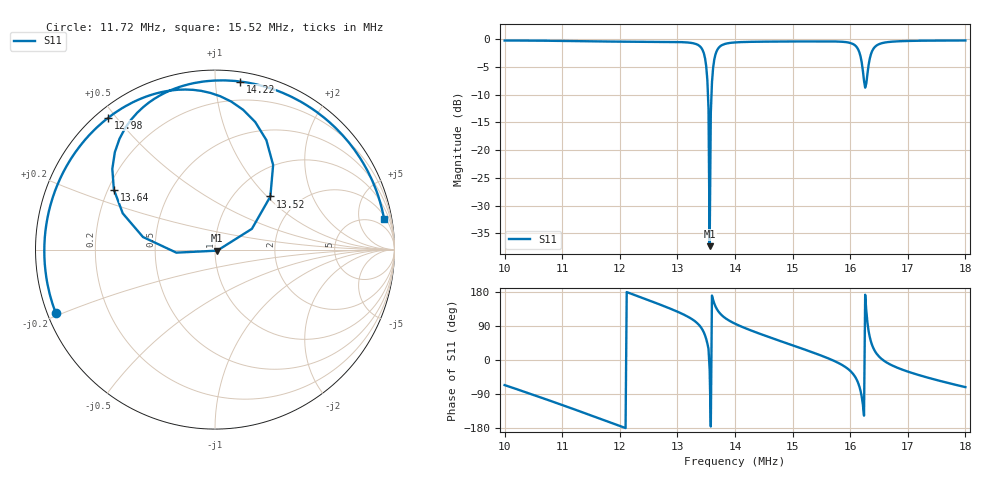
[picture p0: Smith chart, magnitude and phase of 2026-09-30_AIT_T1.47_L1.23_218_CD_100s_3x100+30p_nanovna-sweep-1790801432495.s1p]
! NanoVNA Web complex sweep
! Processing: original sample grid, no browser smoothing
# Hz S RI R 50
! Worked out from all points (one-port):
!   401 points, 10 MHz to 18 MHz, reference 50 ohm
!   lowest |S11| = -37.3 dB at 13.56 MHz (marker M1), VSWR 1.03, Z = 51.2 - j0.606 ohm
!   |S11| at or under -10 dB: 13.53016 MHz to 13.59202 MHz (61.86 kHz wide, 0.456 % of centre)
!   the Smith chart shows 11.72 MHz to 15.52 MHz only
!   S11 on the Smith chart (normalised r, x): 11.72 MHz: 0.02, -0.19; 12.98 MHz: 0.03, +0.48; 13.52 MHz: 1.44, +1.05; 13.64 MHz: 0.22, +0.26; 14.22 MHz: 0.06, +1.16; 15.52 MHz: 3, +10
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1e7  0.3935 -0.8919
1.1e7  -0.4656 -0.8467
1.172e7  -0.8877 -0.3525
1.2e7  -0.9467 -0.0999
1.298e7  -0.5934 0.7357
1.3e7  -0.5759 0.7487
1.332e7  -0.1649 0.8918
1.344e7  0.1569 0.7787
1.35e7  0.3239 0.4715
1.352e7  0.3085 0.2962
1.356e7  0.0123 -0.00592
1.36e7  -0.4013 0.0701
1.362e7  -0.514 0.2019
1.364e7  -0.5636 0.3348
1.376e7  -0.4333 0.7626
1.4e7  -0.0951 0.9317
1.422e7  0.1416 0.9362
1.5e7  0.7452 0.5977
1.552e7  0.9419 0.1713
1.6e7  0.813 -0.4404
1.616e7  0.2561 -0.7165
1.624e7  -0.3525 -0.2301
1.63e7  -0.0673 0.486
1.634e7  0.3308 0.5825
1.64e7  0.6921 0.4328
1.648e7  0.8716 0.1941
1.7e7  0.8314 -0.491
1.8e7  0.3078 -0.9257
